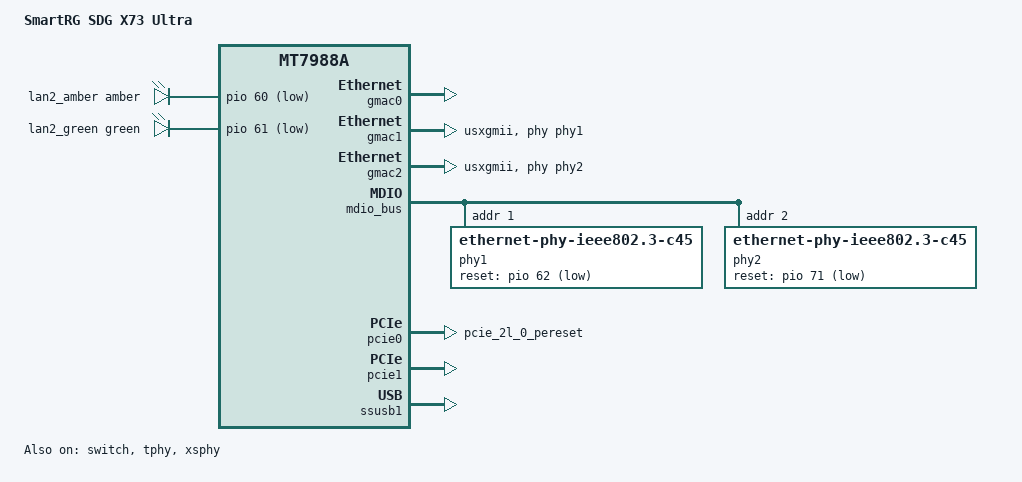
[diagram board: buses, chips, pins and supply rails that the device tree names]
// SPDX-License-Identifier: (GPL-2.0 OR MIT)
/*
 * Copyright (C) 2026 SmartRG Inc.
 * Author: Chad Monroe <chad.monroe@smartrg.com>
 */

#include "mt7988-smartrg-base.dtsi"
#include "mt7988-smartrg-sysled.dtsi"
#include "mt7988-smartrg-wifi-mt7995.dtsi"

/ {
	model = "SmartRG SDG X73 Ultra";
	compatible = "smartrg,sdg-x73-ultra", "mediatek,mt7988a";

	aliases {
		label-mac-device = &gmac2;
	};

	chosen {
		linux,usable-memory-range = <0x0 0x40000000 0x0 0x3fc00000>;
	};

	gpio-keys {
		button-sync {
			label = "sync";
			linux,code = <KEY_WPS_BUTTON>;
			gpios = <&pio 14 GPIO_ACTIVE_LOW>;
		};
	};

	leds: gpio-leds {
		compatible = "gpio-leds";

		lan2_amber {
			color = <LED_COLOR_ID_AMBER>;
			function = "lan2";
			gpios = <&pio 60 GPIO_ACTIVE_LOW>;
			linux,default-trigger = "mt7530-0:03:100Mbps";
		};

		lan2_green {
			color = <LED_COLOR_ID_GREEN>;
			function = "lan2";
			gpios = <&pio 61 GPIO_ACTIVE_LOW>;
			linux,default-trigger = "mt7530-0:03:1Gbps";
		};
	};
};

&button_pins {
	pins = "GPIO_RESET", "GPIO_WPS";
};

&gmac0 {
	nvmem-cells = <&macaddr 0x1>;
	nvmem-cell-names = "mac-address";
	label = "dsa0";

	status = "okay";
};

&gmac1 {
	nvmem-cells = <&macaddr 0x1>;
	nvmem-cell-names = "mac-address";
	label = "lan1";
	phy-mode = "usxgmii";
	managed = "in-band-status";
	phy = <&phy1>;

	status = "okay";
};

&gmac2 {
	nvmem-cells = <&macaddr 0x0>;
	nvmem-cell-names = "mac-address";
	label = "wan";
	phy-mode = "usxgmii";
	managed = "in-band-status";
	phy = <&phy2>;

	status = "okay";
};

&gsw_phy0 {
	status = "disabled";
};

&gsw_phy1 {
	status = "disabled";
};

&gsw_phy2 {
	status = "disabled";
};

&mdio_bus {
	phy1: ethernet-phy@1 {
		/* Realtek RTL8261 - LAN1 */
		compatible = "ethernet-phy-ieee802.3-c45";
		reg = <1>;
		#thermal-sensor-cells = <0>;

		reset-gpios = <&pio 62 GPIO_ACTIVE_LOW>;
		reset-assert-us = <100000>;
		reset-deassert-us = <221000>;

		leds {
			#address-cells = <1>;
			#size-cells = <0>;

			led@0 {
				reg = <0>;
				color = <LED_COLOR_ID_WHITE>;
				function = LED_FUNCTION_LAN;
				function-enumerator = <1>;
			};

			led@1 {
				reg = <1>;
				color = <LED_COLOR_ID_ORANGE>;
				function = LED_FUNCTION_LAN;
				function-enumerator = <1>;
			};

			led@3 {
				reg = <3>;
				color = <LED_COLOR_ID_GREEN>;
				function = LED_FUNCTION_LAN;
				function-enumerator = <1>;
			};
		};
	};

	phy2: ethernet-phy@2 {
		/* Realtek RTL8261 - WAN */
		compatible = "ethernet-phy-ieee802.3-c45";
		reg = <2>;
		#thermal-sensor-cells = <0>;

		reset-gpios = <&pio 71 GPIO_ACTIVE_LOW>;
		reset-assert-us = <100000>;
		reset-deassert-us = <221000>;

		leds {
			#address-cells = <1>;
			#size-cells = <0>;

			led@0 {
				reg = <0>;
				color = <LED_COLOR_ID_WHITE>;
				function = LED_FUNCTION_WAN;
				active-low;
			};

			led@1 {
				reg = <1>;
				color = <LED_COLOR_ID_ORANGE>;
				function = LED_FUNCTION_WAN;
			};

			led@3 {
				reg = <3>;
				color = <LED_COLOR_ID_GREEN>;
				function = LED_FUNCTION_WAN;
			};
		};
	};
};

&pcie0 {
	pinctrl-names = "default";
	pinctrl-0 = <&pcie0_1_pins>;
	wifi-reset-gpios = <&pio 7 GPIO_ACTIVE_LOW>;
	wifi-reset-msleep = <100>;
	wifi-deassert-msleep = <500>;
};

&pcie1 {
	status = "okay";
};

&pio {
	pcie0_1_pins: pcie0-pins-g1 {
		mux {
			function = "pcie";
			groups = "pcie_2l_0_pereset";
		};
	};
};

&ssusb1 {
	status = "okay";
	mediatek,u3p-dis-msk = <0x1>;
};

&switch {
	status = "okay";

	ports {
		port@0 {
			status = "disabled";
		};

		port@1 {
			status = "disabled";
		};

		port@2 {
			status = "disabled";
		};

		port@3 {
			label = "lan2";
		};
	};
};

&tphy {
	status = "okay";
};

&xsphy {
	status = "okay";
};
